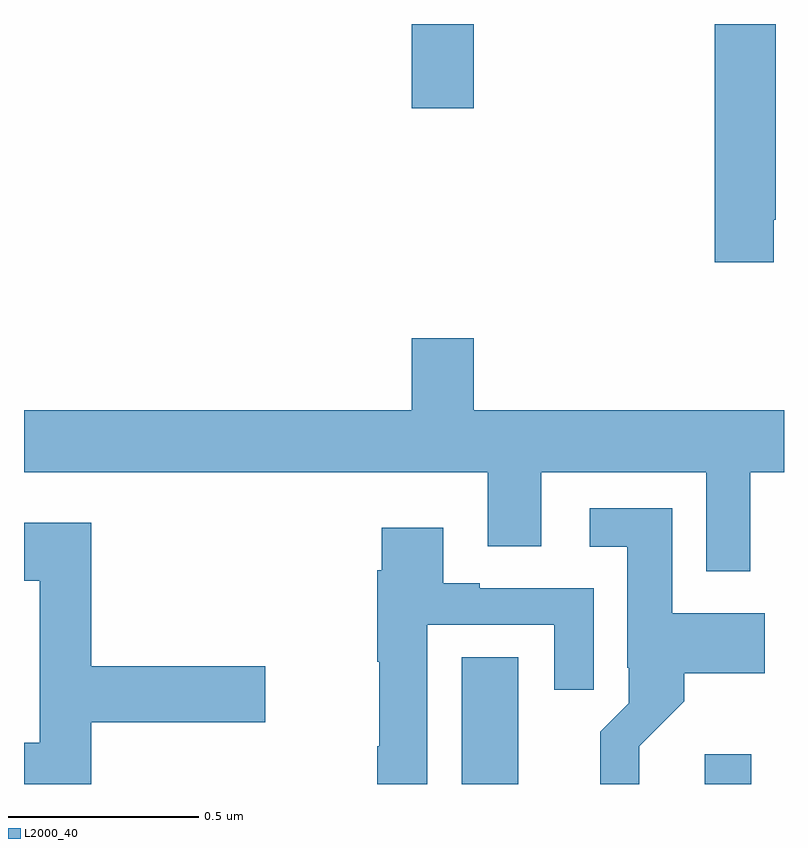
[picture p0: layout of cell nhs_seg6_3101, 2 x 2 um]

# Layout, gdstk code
import gdstk
lib = gdstk.Library(unit=1e-6, precision=1e-09)
def R(c, l, rs):  # rectangles x0, y0, x1, y1
    for r in rs: c.add(gdstk.rectangle(r[:2], r[2:], *l))
def P(c, l, *ps):  # polygons
    for p in ps: c.add(gdstk.Polygon(p, *l))
L2000_40 = (2000, 40)

nhs_seg6_3101 = lib.new_cell('nhs_seg6_3101')
R(nhs_seg6_3101, L2000_40, [(153.152,962.5,153.301,962.834), (153.791,962.5,153.914,962.578), (153.02,964.278,153.184,964.5)])
P(nhs_seg6_3101, L2000_40, [(153.973,963.985),(153.978,963.985),(153.978,964.5),(153.818,964.5),(153.818,963.873),(153.973,963.873)],
  [(153.911,963.32),(154,963.32),(154,963.484),(153.184,963.484),(153.184,963.673),(153.02,963.673),(153.02,963.484),(152,963.484),(152,963.32),(153.221,963.32),(153.221,963.126),(153.361,963.126),(153.361,963.32),(153.795,963.32),(153.795,963.06),(153.911,963.06)],
  [(153.619,962.6),(153.737,962.718),(153.737,962.792),(153.949,962.792),(153.949,962.95),(153.706,962.95),(153.706,963.226),(153.489,963.226),(153.489,963.125),(153.587,963.125),(153.587,962.806),(153.591,962.806),(153.591,962.712),(153.517,962.638),(153.517,962.5),(153.619,962.5)],
  [(152.177,962.663),(152.635,962.663),(152.635,962.81),(152.177,962.81),(152.177,963.187),(152,963.187),(152,963.035),(152.042,963.035),(152.042,962.608),(152,962.608),(152,962.5),(152.177,962.5)],
  [(153.061,962.919),(153.395,962.919),(153.395,962.748),(153.499,962.748),(153.499,963.015),(153.199,963.015),(153.199,963.028),(153.103,963.028),(153.103,963.175),(152.942,963.175),(152.942,963.062),(152.93,963.062),(152.93,962.822),(152.935,962.822),(152.935,962.6),(152.93,962.6),(152.93,962.5),(153.061,962.5)])

lib.write_gds('nhs_seg6_3101.gds')
